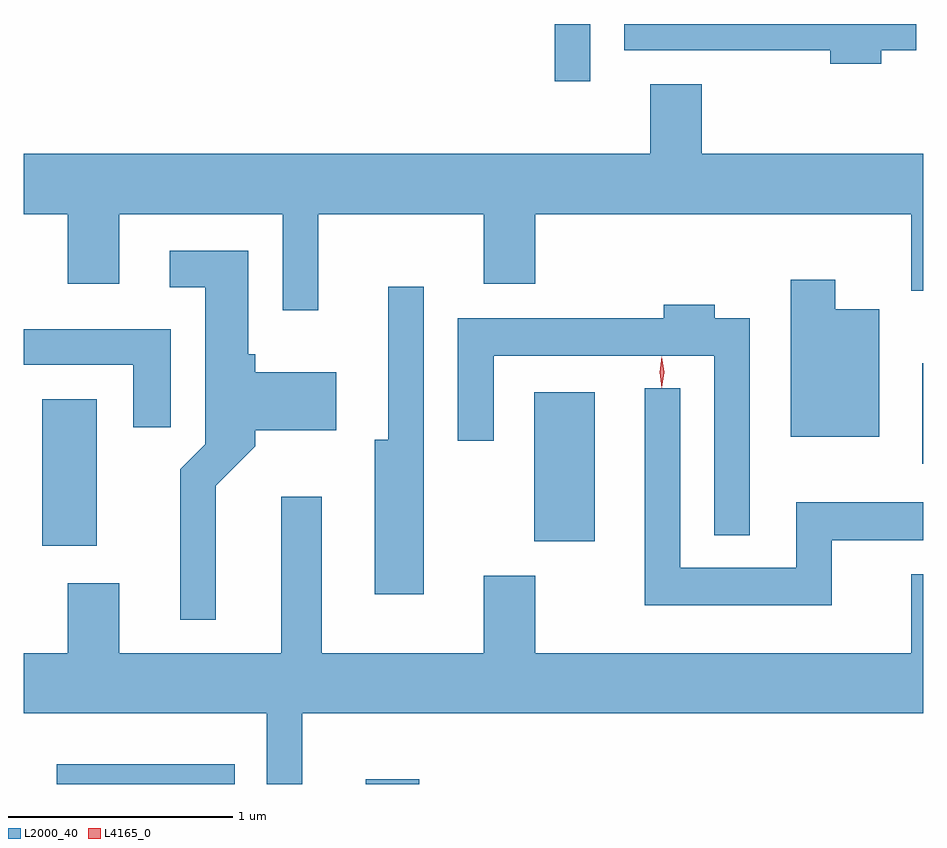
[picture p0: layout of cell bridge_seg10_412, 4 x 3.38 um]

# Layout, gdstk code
import gdstk
lib = gdstk.Library(unit=1e-6, precision=1e-09)
def R(c, l, rs):  # rectangles x0, y0, x1, y1
    for r in rs: c.add(gdstk.rectangle(r[:2], r[2:], *l))
def P(c, l, *ps):  # polygons
    for p in ps: c.add(gdstk.Polygon(p, *l))
L2000_40 = (2000, 40)
L4165_0 = (4165, 0)

bridge_seg10_412 = lib.new_cell('bridge_seg10_412')
R(bridge_seg10_412, L2000_40, [(1437.841,2082.522,1438.633,2082.609), (1439.216,2082.522,1439.454,2082.544), (1437.776,2083.581,1438.019,2084.234), (1439.966,2083.601,1440.234,2084.264), (1441.691,2083.946,1441.695,2084.394), (1440.056,2085.648,1440.214,2085.902)])
P(bridge_seg10_412, L2000_40, [(1441.509,2085.786),(1441.664,2085.786),(1441.664,2085.902),(1440.366,2085.902),(1440.366,2085.786),(1441.281,2085.786),(1441.281,2085.726),(1441.509,2085.726)],
  [(1439.004,2085.056),(1439.741,2085.056),(1439.741,2084.746),(1439.969,2084.746),(1439.969,2085.056),(1441.641,2085.056),(1441.641,2084.716),(1441.695,2084.716),(1441.695,2085.324),(1440.709,2085.324),(1440.709,2085.634),(1440.481,2085.634),(1440.481,2085.324),(1437.695,2085.324),(1437.695,2085.056),(1437.891,2085.056),(1437.891,2084.746),(1438.119,2084.746),(1438.119,2085.056),(1438.846,2085.056),(1438.846,2084.628),(1439.004,2084.628)],
  [(1438.549,2083.849),(1438.724,2084.024),(1438.724,2084.096),(1439.084,2084.096),(1439.084,2084.354),(1438.724,2084.354),(1438.724,2084.434),(1438.694,2084.434),(1438.694,2084.894),(1438.343,2084.894),(1438.343,2084.731),(1438.501,2084.731),(1438.501,2084.032),(1438.391,2083.922),(1438.391,2083.253),(1438.549,2083.253)],
  [(1441.499,2084.634),(1441.304,2084.634),(1441.304,2084.764),(1441.106,2084.764),(1441.106,2084.066),(1441.499,2084.066)],
  [(1439.474,2084.733),(1439.316,2084.733),(1439.316,2084.054),(1439.256,2084.054),(1439.256,2083.366),(1439.474,2083.366)],
  [(1440.924,2084.594),(1440.769,2084.594),(1440.769,2084.654),(1440.541,2084.654),(1440.541,2084.594),(1439.626,2084.594),(1439.626,2084.048),(1439.784,2084.048),(1439.784,2084.426),(1440.766,2084.426),(1440.766,2083.628),(1440.924,2083.628)],
  [(1438.349,2084.544),(1437.695,2084.544),(1437.695,2084.386),(1438.181,2084.386),(1438.181,2084.108),(1438.349,2084.108)],
  [(1441.289,2083.606),(1441.695,2083.606),(1441.695,2083.774),(1441.131,2083.774),(1441.131,2083.484),(1440.614,2083.484),(1440.614,2084.283),(1440.456,2084.283),(1440.456,2083.316),(1441.289,2083.316)],
  [(1438.934,2082.836),(1441.695,2082.836),(1441.695,2083.454),(1441.641,2083.454),(1441.641,2083.104),(1439.969,2083.104),(1439.969,2083.449),(1439.741,2083.449),(1439.741,2083.104),(1439.019,2083.104),(1439.019,2083.799),(1438.841,2083.799),(1438.841,2083.104),(1438.119,2083.104),(1438.119,2083.414),(1437.891,2083.414),(1437.891,2083.104),(1437.695,2083.104),(1437.695,2082.836),(1438.776,2082.836),(1438.776,2082.522),(1438.934,2082.522)])
P(bridge_seg10_412, L4165_0, [(1440.533,2084.283),(1440.532,2084.284),(1440.523,2084.353),(1440.532,2084.422),(1440.533,2084.423),(1440.533,2084.422),(1440.543,2084.353),(1440.533,2084.284)],
  [(1440.532,2084.287),(1440.523,2084.354),(1440.532,2084.42),(1440.533,2084.42),(1440.533,2084.42),(1440.543,2084.354),(1440.533,2084.287),(1440.533,2084.287)])

lib.write_gds('bridge_seg10_412.gds')
